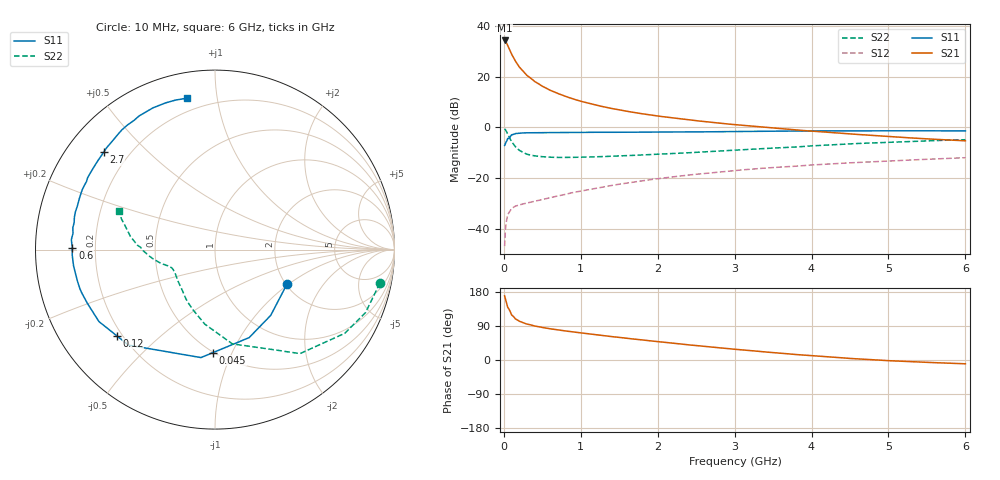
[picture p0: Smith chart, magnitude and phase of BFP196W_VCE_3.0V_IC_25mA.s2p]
! Infineon Technologies  Discrete & RF Semiconductors
! BFP196W
! VCE = 3.0 V,  IC =  25mA
! Common Emitter S-Parameters:  Jan 2016
# GHz  S  MA  R  50
!  f  S11  S21  S12  S22
! GHz  MAG  ANG  MAG  ANG  MAG  ANG  MAG  ANG
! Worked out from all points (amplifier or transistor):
!   210 points, 10 MHz to 6 GHz, reference 50 ohm
!   highest |S21| = 34.3 dB at 10 MHz (marker M1)
!   |S21| within 3 dB of that: start of sweep to 66.18 MHz
!   unconditionally stable (mu >= 1): 785.4 MHz to 3.335 GHz
!   at 185 MHz: K = 0.38, MSG = 27.6 dB, |S12| = -30.7 dB
!   at 1.52 GHz: K = 1.13, MAG = 12.4 dB, |S12| = -22.2 dB
!   at 6 GHz: K = 0.94, MSG = 3.3 dB, |S12| = -11.9 dB
!   S11 on the Smith chart (normalised r, x): 10 MHz: 2.02, -0.98; 45 MHz: 0.50, -0.85; 120 MHz: 0.18, -0.37; 600 MHz: 0.11, +0.01; 2.7 GHz: 0.11, +0.37; 6 GHz: 0.13, +0.82
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0.01  0.4447 -25.9  51.79 169.1  0.0046 78.9  0.9374 -11.5
0.02  0.4802 -49.7  50.97 161.4  0.0093 73.1  0.9092 -22.7
0.03  0.5261 -68.8  48.16 153.3  0.0132 66.9  0.8606 -32.8
0.045  0.574 -91.1  42.89 143.2  0.0176 57.5  0.769 -45.8
0.05  0.6067 -97.4  41.48 139.3  0.0191 55.3  0.7486 -50.7
0.1  0.7181 -132.2  27.91 119.2  0.0253 39.4  0.5339 -79.6
0.12  0.7283 -138.8  24.75 115.7  0.0265 37.2  0.4824 -85.8
0.15  0.7609 -148.2  20.23 108.5  0.0283 34.3  0.4191 -97.8
0.2  0.7717 -157.3  15.6 102.4  0.0298 33.4  0.3565 -110.3
0.26  0.7838 -163.9  12.32 97.4  0.0315 33.7  0.3184 -120.6
0.3  0.7864 -167.3  10.63 94.8  0.0324 34.8  0.2975 -126.4
0.4  0.7932 -173.4  8.071 89.7  0.0353 37.2  0.2765 -136.1
0.6  0.795 179.2  5.427 82.4  0.0414 43.3  0.2601 -147.3
0.8  0.7963 173.5  4.096 76.6  0.0482 48.0  0.2572 -152.6
1.02  0.7998 168.8  3.228 71.0  0.0567 51.3  0.2602 -156.3
1.4  0.805 161.2  2.373 61.8  0.0722 54.2  0.2714 -159.7
2.02  0.815 150.2  1.668 48.2  0.0989 54.5  0.2976 -164.0
2.7  0.8244 138.8  1.264 34.2  0.1288 51.5  0.3372 -169.8
3.1  0.8339 132.5  1.104 26.7  0.1463 48.8  0.3645 -173.9
4.1  0.8569 118.4  0.829 10.1  0.1863 41.5  0.4427 175.4
5.1  0.862 107.8  0.649 -2.6  0.2221 33.9  0.5183 165.1
6  0.8579 100.5  0.547 -10.0  0.2542 27.5  0.5748 158.3
